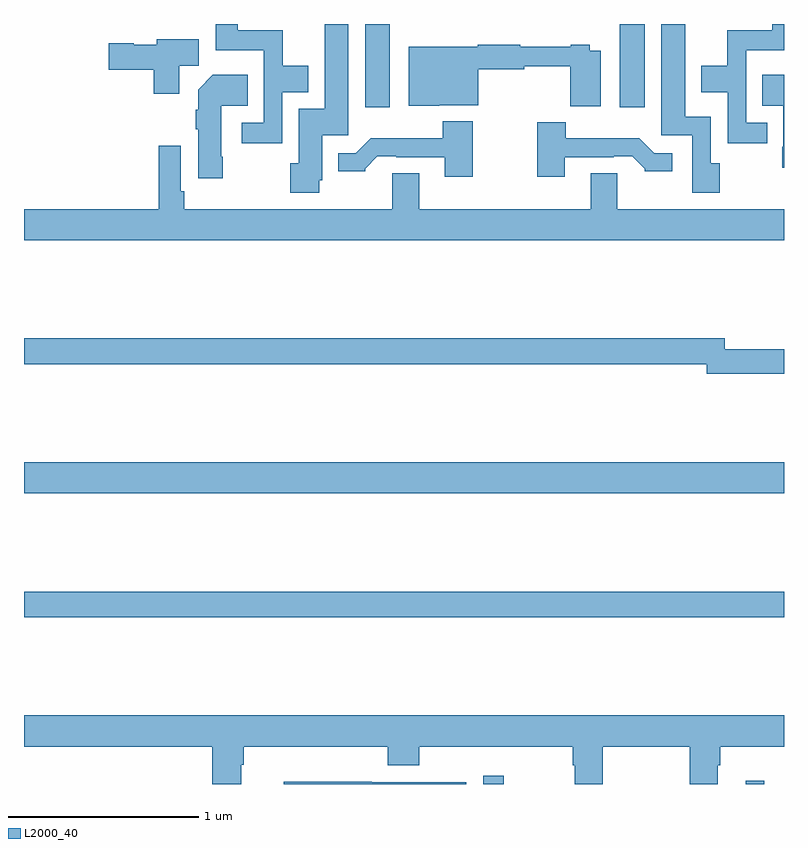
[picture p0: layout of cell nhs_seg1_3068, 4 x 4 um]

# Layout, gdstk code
import gdstk
lib = gdstk.Library(unit=1e-6, precision=1e-09)
def R(c, l, rs):  # rectangles x0, y0, x1, y1
    for r in rs: c.add(gdstk.rectangle(r[:2], r[2:], *l))
def P(c, l, *ps):  # polygons
    for p in ps: c.add(gdstk.Polygon(p, *l))
L2000_40 = (2000, 40)

nhs_seg1_3068 = lib.new_cell('nhs_seg1_3068')
R(nhs_seg1_3068, L2000_40, [(279.417,554.199,279.526,554.242), (280.799,554.199,280.896,554.215), (277,555.076,281,555.212), (277,555.728,281,555.892), (278.795,557.76,278.926,558.199), (280.136,557.76,280.267,558.199), (279.215,558.198,279.363,558.199), (279.7,558.198,279.847,558.199)])
P(nhs_seg1_3068, L2000_40, [(278.358,557.84),(278.497,557.84),(278.497,557.98),(278.361,557.98),(278.361,558.166),(278.125,558.166),(278.125,558.199),(278.009,558.199),(278.009,558.062),(278.262,558.062),(278.262,557.679),(278.145,557.679),(278.145,557.571),(278.358,557.571)],
  [(280.662,557.466),(280.614,557.466),(280.614,557.71),(280.48,557.71),(280.48,558.199),(280.355,558.199),(280.355,557.613),(280.518,557.613),(280.518,557.31),(280.662,557.31)],
  [(278.553,557.376),(278.569,557.376),(278.569,557.613),(278.707,557.613),(278.707,558.199),(278.582,558.199),(278.582,557.752),(278.447,557.752),(278.447,557.466),(278.401,557.466),(278.401,557.31),(278.553,557.31)],
  [(280.912,557.679),(280.8,557.679),(280.8,558.062),(281,558.062),(281,558.199),(280.937,558.199),(280.937,558.166),(280.702,558.166),(280.702,557.98),(280.565,557.98),(280.565,557.84),(280.704,557.84),(280.704,557.572),(280.912,557.572)],
  [(277.816,557.98),(277.921,557.98),(277.921,558.118),(277.698,558.118),(277.698,558.091),(277.578,558.091),(277.578,558.099),(277.446,558.099),(277.446,557.957),(277.682,557.957),(277.682,557.832),(277.816,557.832)],
  [(280.036,558.058),(279.978,558.058),(279.978,558.091),(279.878,558.091),(279.878,558.078),(279.611,558.078),(279.611,558.091),(279.387,558.091),(279.387,558.079),(279.026,558.079),(279.026,557.768),(279.186,557.768),(279.186,557.771),(279.391,557.771),(279.391,557.962),(279.632,557.962),(279.632,557.977),(279.874,557.977),(279.874,557.765),(280.036,557.765)],
  [(278.046,557.5),(278.038,557.5),(278.038,557.768),(278.177,557.768),(278.177,557.932),(277.994,557.932),(277.916,557.854),(277.916,557.747),(277.904,557.747),(277.904,557.644),(277.916,557.644),(277.916,557.388),(278.046,557.388)],
  [(281,557.932),(280.885,557.932),(280.885,557.768),(280.997,557.768),(280.997,557.554),(280.991,557.554),(280.991,557.442),(281,557.442)],
  [(279.363,557.686),(279.203,557.686),(279.203,557.599),(278.824,557.599),(278.745,557.52),(278.654,557.52),(278.654,557.423),(278.796,557.423),(278.796,557.438),(278.86,557.502),(278.959,557.502),(278.959,557.499),(279.215,557.499),(279.215,557.394),(279.363,557.394)],
  [(279.847,557.499),(280.103,557.499),(280.103,557.502),(280.202,557.502),(280.266,557.438),(280.266,557.423),(280.411,557.423),(280.411,557.52),(280.317,557.52),(280.239,557.599),(279.85,557.599),(279.85,557.683),(279.7,557.683),(279.7,557.394),(279.847,557.394)],
  [(281,557.224),(280.123,557.224),(280.123,557.414),(279.983,557.414),(279.983,557.224),(279.079,557.224),(279.079,557.414),(278.939,557.414),(278.939,557.224),(277.844,557.224),(277.844,557.32),(277.824,557.32),(277.824,557.557),(277.708,557.557),(277.708,557.224),(277,557.224),(277,557.06),(281,557.06)],
  [(281,556.487),(280.689,556.487),(280.689,556.544),(277,556.544),(277,556.408),(280.593,556.408),(280.593,556.359),(281,556.359)],
  [(278.143,554.3),(278.156,554.3),(278.156,554.396),(278.915,554.396),(278.915,554.297),(279.08,554.297),(279.08,554.396),(279.887,554.396),(279.887,554.298),(279.899,554.298),(279.899,554.199),(280.047,554.199),(280.047,554.396),(280.504,554.396),(280.504,554.199),(280.651,554.199),(280.651,554.298),(280.664,554.298),(280.664,554.396),(281,554.396),(281,554.56),(277,554.56),(277,554.396),(277.991,554.396),(277.991,554.199),(278.143,554.199)],
  [(279.327,554.208),(278.831,554.208),(278.831,554.21),(278.368,554.21),(278.368,554.199),(279.327,554.199)])

lib.write_gds('nhs_seg1_3068.gds')
